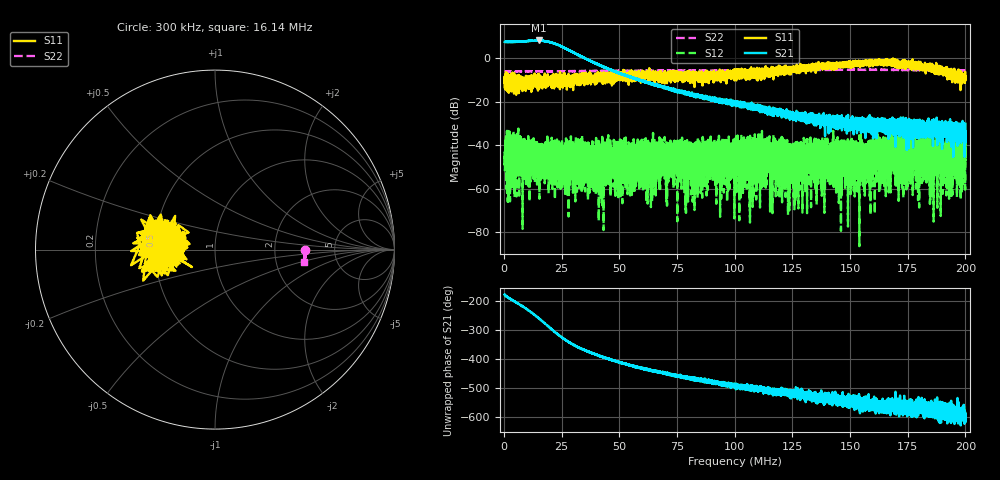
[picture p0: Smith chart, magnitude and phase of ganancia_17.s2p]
# Hz S DB R 50
! CMT, M5065, 19127446, 24.2.4/2
! Date: 10/29/2024 1:11:33 PM
! Data: Format (Calibration Info)
! Freq	S11:dB/Ang(F2)	S21:dB/Ang(F2)	S12:dB/Ang(F2)	S22:dB/Ang(F2)
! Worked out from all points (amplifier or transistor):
!   9000 points, 300 kHz to 200 MHz, reference 50 ohm
!   highest |S21| = 8.1 dB at 15.01 MHz (marker M1)
!   |S21| within 3 dB of that: start of sweep to 25.41 MHz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
!   unconditionally stable (mu >= 1): start of sweep to end of sweep
!   at 33.59 MHz: K = 67.90, MAG = 2.4 dB, |S12| = -46.7 dB
!   at 100.2 MHz: K = 299.79, MAG = -18.9 dB, |S12| = -39.2 dB
!   at 200 MHz: K = 480.99, MAG = -28.0 dB, |S12| = -33.7 dB
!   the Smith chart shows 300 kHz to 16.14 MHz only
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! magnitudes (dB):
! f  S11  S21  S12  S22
! 300 kHz  -11.3  7.4  -49.1  -6.0
! 2.697 MHz  -10.2  7.5  -38.3  -6.1
! 7.468 MHz  -9.6  7.6  -49.7  -6.0
! 15.01 MHz  -10.8  8.1  -47.9  -6.0
! 33.59 MHz  -10.8  0.7  -46.7  -6.0
! 39.16 MHz  -10.3  -2.1  -48.0  -5.9
! 42.53 MHz  -8.9  -3.6  -51.3  -5.9
! 44.42 MHz  -8.7  -4.5  -41.7  -5.9
! 56.33 MHz  -8.8  -9.1  -38.6  -5.8
! 59.82 MHz  -10.0  -10.2  -40.0  -5.8
! 63.23 MHz  -8.1  -11.1  -45.6  -5.8
! 65.41 MHz  -8.3  -12.2  -40.6  -5.8
! 66.87 MHz  -8.2  -12.6  -43.0  -5.8
! 100.2 MHz  -6.5  -21.3  -39.2  -5.7
! 133.4 MHz  -4.5  -26.9  -48.2  -5.5
! 166.7 MHz  -0.9  -37.0  -44.1  -5.4
! 177.3 MHz  -3.8  -38.2  -42.8  -5.5
! 179.5 MHz  -4.5  -28.9  -55.0  -5.5
! 185.2 MHz  -3.5  -29.6  -54.7  -5.5
! 186.8 MHz  -4.6  -30.9  -40.1  -5.5
! 198.8 MHz  -8.9  -31.6  -41.7  -5.5
! 200 MHz  -8.5  -30.1  -33.7  -5.5
